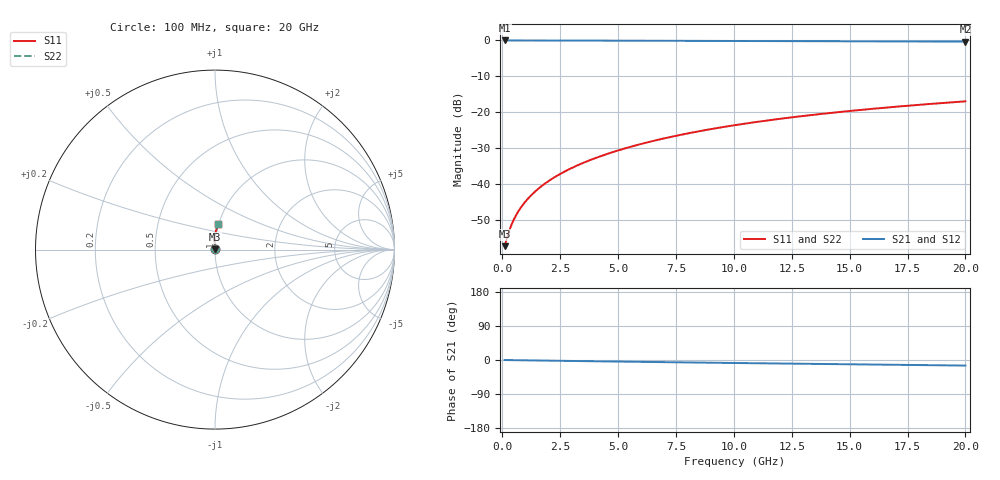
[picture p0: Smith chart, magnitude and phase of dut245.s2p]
! Touchstone file exported from HFSS 2024.1.0
!  File:  C:/UserFiles/LocalFiles/RDL_TSV_Batchsim/temp_RDL_top_245_1778688679.aedt
!  Generated:  12:13:42 AM May 14, 2026
!  Design:  RDL_top
!  Project:  temp_RDL_top_245_1778688679
!  Setup:  Setup1
!  Solution:  Sweep
! Variables:
!  dtsv = 10.80580581um
!  hbump = 3um
!  htsv = 70.71um
!  ldown = 100um
!  lrdl = 193.62um
!  p = 40
!  p1 = 47.37um
!  rhole = 1um
!  t = 450um
!  tdown = 3.915915916um
!  trdl = 2.79um
!  wdown = 15.38538539um
!  wrdl = 27.24um
# GHz S MA R 50.000000
! Terminal data exported
! Port[1] = Box2_T1
! Port[2] = Box2_T2
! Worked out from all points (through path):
!   200 points, 100 MHz to 20 GHz, reference 50 ohm
!   highest |S21| = -0.01 dB at 100 MHz (marker M1); lowest = -0.3 dB at 20 GHz (marker M2)
!   group delay of S21, straight-line fit = 2.01 ps
!   lowest |S11| = -57.2 dB at 100 MHz (marker M3), VSWR 1.00, Z = 50.1 + j0.0639 ohm
!   |S11| at or under -10 dB: start of sweep to end of sweep
!   |S22| runs from -57.2 to -16.9 dB; largest |S21 - S12| = 3.2e-15
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0.1  0.001383 27.4  0.9988 -0.1  0.9988 -0.1  0.001384 27.4
! Gamma 0 0 0 0
! Port Impedance 50 0 50 0
0.3  0.002267 53.9  0.9986 -0.3  0.9986 -0.3  0.002267 53.9
0.4  0.002761 59.8  0.9985 -0.4  0.9985 -0.4  0.002761 59.8
0.5  0.003255 64.1  0.9985 -0.4  0.9985 -0.4  0.003255 64.1
0.6  0.00375 67.3  0.9984 -0.5  0.9984 -0.5  0.00375 67.3
0.8  0.004749 72.2  0.9982 -0.7  0.9982 -0.7  0.004749 72.2
1  0.005765 75.7  0.9981 -0.9  0.9981 -0.9  0.005765 75.7
1.2  0.006802 78.3  0.9979 -1.0  0.9979 -1.0  0.006802 78.3
1.7  0.009471 82.9  0.9975 -1.5  0.9975 -1.5  0.009471 82.9
2.2  0.01224 85.8  0.9969 -1.9  0.9969 -1.9  0.01224 85.8
2.8  0.0157 88.2  0.9961 -2.4  0.9961 -2.4  0.0157 88.2
3.5  0.01991 90.1  0.9949 -3.0  0.9949 -3.0  0.01991 90.1
4.2  0.02432 91.3  0.9936 -3.6  0.9936 -3.6  0.02432 91.3
5  0.02958 92.2  0.992 -4.2  0.992 -4.2  0.02958 92.2
5.9  0.03576 92.7  0.9901 -4.9  0.9901 -4.9  0.03575 92.7
6.8  0.04216 92.8  0.9881 -5.6  0.9881 -5.6  0.04216 92.8
8.4  0.05396 92.3  0.9846 -6.7  0.9846 -6.7  0.05396 92.3
10.1  0.06686 91.2  0.981 -8.0  0.981 -8.0  0.06686 91.2
11.7  0.07916 89.9  0.9777 -9.1  0.9777 -9.1  0.07916 89.9
13.4  0.09227 88.4  0.9744 -10.3  0.9744 -10.3  0.09227 88.4
16.7  0.1176 85.4  0.9684 -12.5  0.9684 -12.5  0.1176 85.4
20  0.1424 82.4  0.9626 -14.7  0.9626 -14.7  0.1424 82.4
